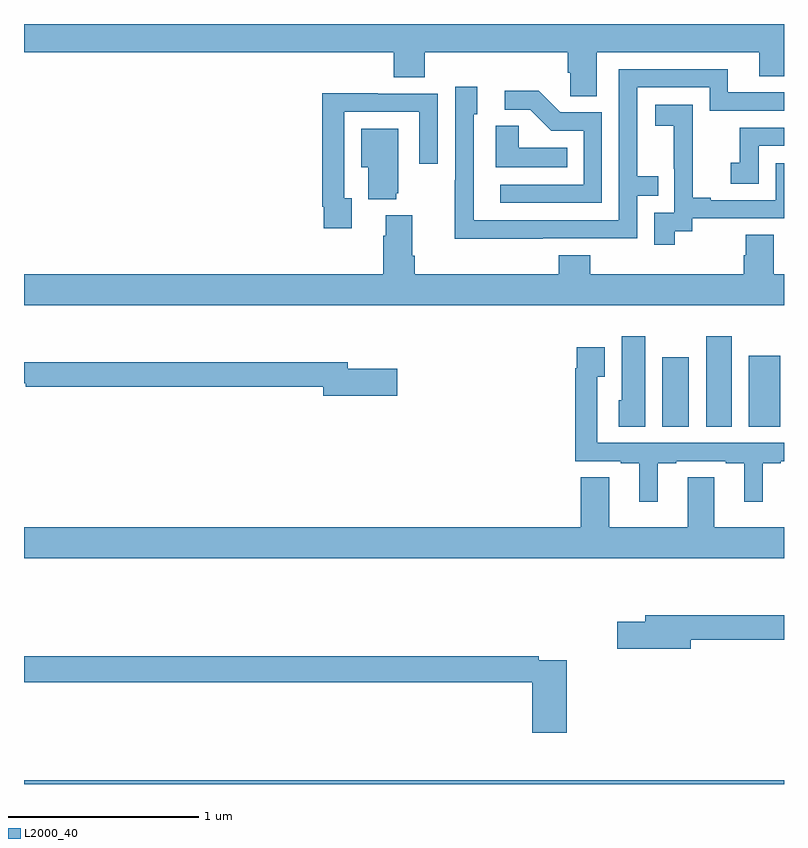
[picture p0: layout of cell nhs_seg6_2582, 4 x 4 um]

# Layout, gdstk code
import gdstk
lib = gdstk.Library(unit=1e-6, precision=1e-09)
def R(c, l, rs):  # rectangles x0, y0, x1, y1
    for r in rs: c.add(gdstk.rectangle(r[:2], r[2:], *l))
def P(c, l, *ps):  # polygons
    for p in ps: c.add(gdstk.Polygon(p, *l))
L2000_40 = (2000, 40)

nhs_seg6_2582 = lib.new_cell('nhs_seg6_2582')
R(nhs_seg6_2582, L2000_40, [(265,927.5,269,927.52), (268.358,929.38,268.498,929.746), (268.592,929.38,268.726,929.857), (268.814,929.38,268.981,929.755)])
P(nhs_seg6_2582, L2000_40, [(268.015,931.352),(268.871,931.352),(268.871,931.225),(269,931.225),(269,931.5),(265,931.5),(265,931.352),(266.945,931.352),(266.945,931.219),(267.11,931.219),(267.11,931.352),(267.863,931.352),(267.863,931.243),(267.876,931.243),(267.876,931.12),(268.015,931.12)],
  [(267.731,930.372),(268.227,930.372),(268.227,930.597),(268.337,930.597),(268.337,930.698),(268.227,930.698),(268.227,931.167),(268.608,931.167),(268.608,931.044),(269,931.044),(269,931.14),(268.705,931.14),(268.705,931.263),(268.131,931.263),(268.131,930.468),(267.366,930.468),(267.366,931.026),(267.385,931.026),(267.385,931.171),(267.27,931.171),(267.27,930.677),(267.268,930.677),(267.268,930.371),(267.731,930.371)],
  [(268.041,931.035),(267.822,931.035),(267.709,931.148),(267.531,931.148),(267.531,931.05),(267.665,931.05),(267.776,930.939),(267.945,930.939),(267.945,930.654),(267.507,930.654),(267.507,930.558),(268.041,930.558)],
  [(266.725,930.582),(266.685,930.582),(266.685,931.038),(267.081,931.038),(267.081,930.765),(267.177,930.765),(267.177,931.134),(266.861,931.134),(266.861,931.136),(266.569,931.136),(266.569,930.538),(266.577,930.538),(266.577,930.426),(266.725,930.426)],
  [(268.426,930.409),(268.518,930.409),(268.518,930.477),(269,930.477),(269,930.768),(268.956,930.768),(268.956,930.573),(268.615,930.573),(268.615,930.586),(268.52,930.586),(268.52,930.869),(268.521,930.869),(268.521,931.075),(268.323,931.075),(268.323,930.965),(268.421,930.965),(268.421,930.737),(268.422,930.737),(268.422,930.507),(268.317,930.507),(268.317,930.339),(268.426,930.339)],
  [(267.86,930.85),(267.603,930.85),(267.603,930.965),(267.482,930.965),(267.482,930.746),(267.86,930.746)],
  [(268.866,930.858),(269,930.858),(269,930.954),(268.768,930.954),(268.768,930.769),(268.719,930.769),(268.719,930.66),(268.866,930.66)],
  [(266.96,930.609),(266.971,930.609),(266.971,930.949),(266.774,930.949),(266.774,930.746),(266.813,930.746),(266.813,930.578),(266.96,930.578)],
  [(269,930.184),(268.947,930.184),(268.947,930.392),(268.799,930.392),(268.799,930.282),(268.787,930.282),(268.787,930.184),(267.98,930.184),(267.98,930.283),(267.815,930.283),(267.815,930.184),(267.056,930.184),(267.056,930.28),(267.043,930.28),(267.043,930.493),(266.903,930.493),(266.903,930.386),(266.891,930.386),(266.891,930.184),(265,930.184),(265,930.02),(269,930.02)],
  [(268.27,929.857),(268.145,929.857),(268.145,929.52),(268.13,929.52),(268.13,929.38),(268.27,929.38)],
  [(268.336,929.187),(268.432,929.187),(268.432,929.199),(268.694,929.199),(268.694,929.187),(268.79,929.187),(268.79,928.986),(268.888,928.986),(268.888,929.187),(268.984,929.187),(268.984,929.199),(269,929.199),(269,929.295),(268.017,929.295),(268.017,929.644),(268.057,929.644),(268.057,929.8),(267.909,929.8),(267.909,929.687),(267.901,929.687),(267.901,929.199),(268.142,929.199),(268.142,929.187),(268.238,929.187),(268.238,928.986),(268.336,928.986)],
  [(266.965,929.685),(266.704,929.685),(266.704,929.719),(265,929.719),(265,929.608),(265.01,929.608),(265.01,929.59),(266.576,929.59),(266.576,929.543),(266.965,929.543)],
  [(269,928.852),(268.633,928.852),(268.633,929.114),(268.493,929.114),(268.493,928.852),(268.081,928.852),(268.081,929.114),(267.929,929.114),(267.929,928.852),(265,928.852),(265,928.688),(269,928.688)],
  [(268.51,928.258),(269,928.258),(269,928.387),(268.271,928.387),(268.271,928.353),(268.122,928.353),(268.122,928.211),(268.51,928.211)],
  [(267.857,928.152),(267.71,928.152),(267.71,928.172),(265,928.172),(265,928.036),(267.674,928.036),(267.674,927.771),(267.857,927.771)])

lib.write_gds('nhs_seg6_2582.gds')
